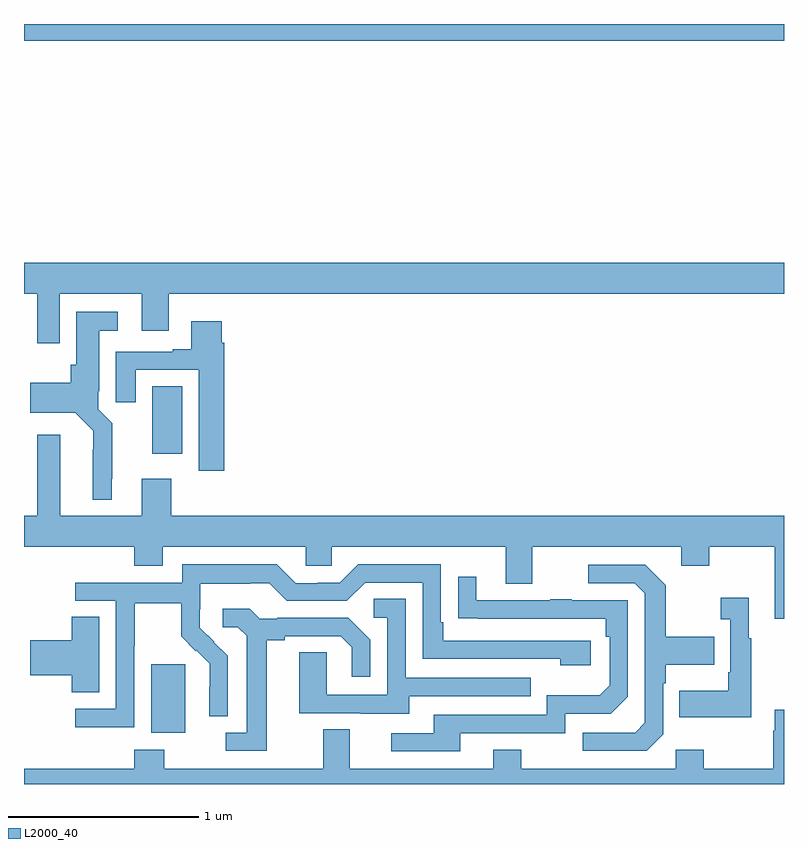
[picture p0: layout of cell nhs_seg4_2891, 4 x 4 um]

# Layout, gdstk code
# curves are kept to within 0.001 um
import gdstk
lib = gdstk.Library(unit=1e-6, precision=1e-09)
def R(c, l, rs):  # rectangles x0, y0, x1, y1
    for r in rs: c.add(gdstk.rectangle(r[:2], r[2:], *l))
def P(c, l, *ps):  # polygons
    for p in ps: c.add(gdstk.Polygon(p, *l))
L2000_40 = (2000, 40)

nhs_seg4_2891 = lib.new_cell('nhs_seg4_2891')
R(nhs_seg4_2891, L2000_40, [(263.669,801.17,263.848,801.531), (263.675,802.638,263.833,802.994), (263,804.812,267,804.9)])
P(nhs_seg4_2891, L2000_40, [(263.187,803.48),(263.621,803.48),(263.621,803.286),(263.761,803.286),(263.761,803.48),(267,803.48),(267,803.644),(263,803.644),(263,803.48),(263.071,803.48),(263.071,803.22),(263.187,803.22)],
  [(263.461,802.507),(263.464,802.507),(263.464,802.799),(263.391,802.872),(263.391,802.966),(263.395,802.966),(263.395,803.285),(263.494,803.285),(263.494,803.386),(263.276,803.386),(263.276,803.106),(263.246,803.106),(263.246,803.011),(263.034,803.011),(263.034,802.853),(263.271,802.853),(263.364,802.76),(263.363,802.397),(263.461,802.397)],
  [(264.053,803.222),(264.04,803.222),(264.04,803.335),(263.879,803.335),(263.879,803.188),(263.783,803.188),(263.783,803.175),(263.483,803.175),(263.483,802.908),(263.587,802.908),(263.587,803.079),(263.921,803.079),(263.921,802.548),(264.053,802.548)],
  [(267,802.312),(263.774,802.312),(263.774,802.507),(263.621,802.507),(263.621,802.312),(263.191,802.312),(263.191,802.738),(263.069,802.738),(263.069,802.312),(263,802.312),(263,802.148),(263.579,802.148),(263.579,802.049),(263.731,802.049),(263.731,802.148),(264.483,802.148),(264.483,802.05),(264.621,802.05),(264.621,802.148),(265.535,802.148),(265.535,801.954),(265.675,801.954),(265.675,802.148),(266.459,802.148),(266.459,802.049),(266.607,802.049),(266.607,802.148),(266.951,802.148),(266.951,801.771),(267,801.771)],
  [(263.58,801.628),(263.583,801.628),(263.583,801.852),(263.827,801.852),(263.827,801.677),(263.904,801.6),(263.907,801.603),(263.978,801.533),(263.978,801.41),(263.976,801.41),(263.976,801.256),(264.072,801.256),(264.072,801.574),(263.926,801.722),(263.926,801.819),(263.928,801.819),(263.928,801.953),(264.191,801.953),(264.191,801.957),(264.291,801.957),(264.384,801.864),(264.699,801.864),(264.795,801.96),(265.098,801.96),(265.098,801.558),(265.823,801.558),(265.823,801.524),(265.984,801.524),(265.984,801.654),(265.207,801.654),(265.207,801.751),(265.194,801.751),(265.194,802.056),(264.759,802.056),(264.663,801.96),(264.545,801.96),(264.545,801.957),(264.429,801.957),(264.329,802.057),(263.832,802.057),(263.832,801.96),(263.271,801.96),(263.271,801.864),(263.484,801.864),(263.484,801.297),(263.271,801.297),(263.271,801.199),(263.58,801.199)],
  [(266.364,801.162),(266.364,801.431),(266.377,801.431),(266.377,801.527),(266.633,801.527),(266.633,801.675),(266.377,801.675),(266.377,801.947),(266.271,802.053),(265.971,802.053),(265.971,801.957),(266.214,801.957),(266.268,801.903),(266.268,801.222),(266.217,801.171),(265.941,801.171),(265.941,801.075),(266.277,801.075)],
  [(265.297,801.168),(265.848,801.168),(265.848,801.27),(266.088,801.27),(266.178,801.36),(266.178,801.867),(265.883,801.867),(265.883,801.872),(265.771,801.872),(265.771,801.867),(265.381,801.867),(265.381,801.991),(265.285,801.991),(265.285,801.772),(266.062,801.771),(266.062,801.674),(266.082,801.674),(266.082,801.42),(266.029,801.367),(265.752,801.367),(265.752,801.264),(265.157,801.264),(265.157,801.168),(264.933,801.168),(264.933,801.072),(265.297,801.072)],
  [(266.827,801.667),(266.815,801.667),(266.815,801.88),(266.667,801.88),(266.667,801.767),(266.718,801.767),(266.718,801.487),(266.706,801.487),(266.706,801.391),(266.449,801.391),(266.449,801.251),(266.827,801.251)],
  [(265.027,801.363),(265.667,801.363),(265.667,801.459),(265.008,801.459),(265.008,801.875),(264.84,801.875),(264.84,801.774),(264.912,801.774),(264.912,801.369),(264.594,801.369),(264.594,801.593),(264.449,801.593),(264.449,801.273),(264.773,801.273),(264.773,801.269),(265.027,801.269)],
  [(264.277,801.656),(264.373,801.656),(264.373,801.678),(264.668,801.678),(264.725,801.621),(264.725,801.465),(264.822,801.465),(264.822,801.658),(264.706,801.774),(264.334,801.774),(264.334,801.771),(264.24,801.771),(264.188,801.823),(264.045,801.823),(264.045,801.726),(264.126,801.726),(264.173,801.679),(264.173,801.171),(264.063,801.171),(264.063,801.075),(264.277,801.075)],
  [(263.395,801.779),(263.252,801.779),(263.252,801.656),(263.034,801.656),(263.034,801.473),(263.252,801.473),(263.252,801.382),(263.395,801.382)],
  [(267,801.292),(266.951,801.292),(266.951,801.179),(266.944,801.179),(266.944,800.98),(266.577,800.98),(266.577,801.079),(266.43,801.079),(266.43,800.98),(265.617,800.98),(265.617,801.079),(265.469,801.079),(265.469,800.98),(264.715,800.98),(264.715,801.188),(264.575,801.188),(264.575,800.98),(263.739,800.98),(263.739,801.079),(263.579,801.079),(263.579,800.98),(263,800.98),(263,800.9),(267,800.9)])

lib.write_gds('nhs_seg4_2891.gds')
